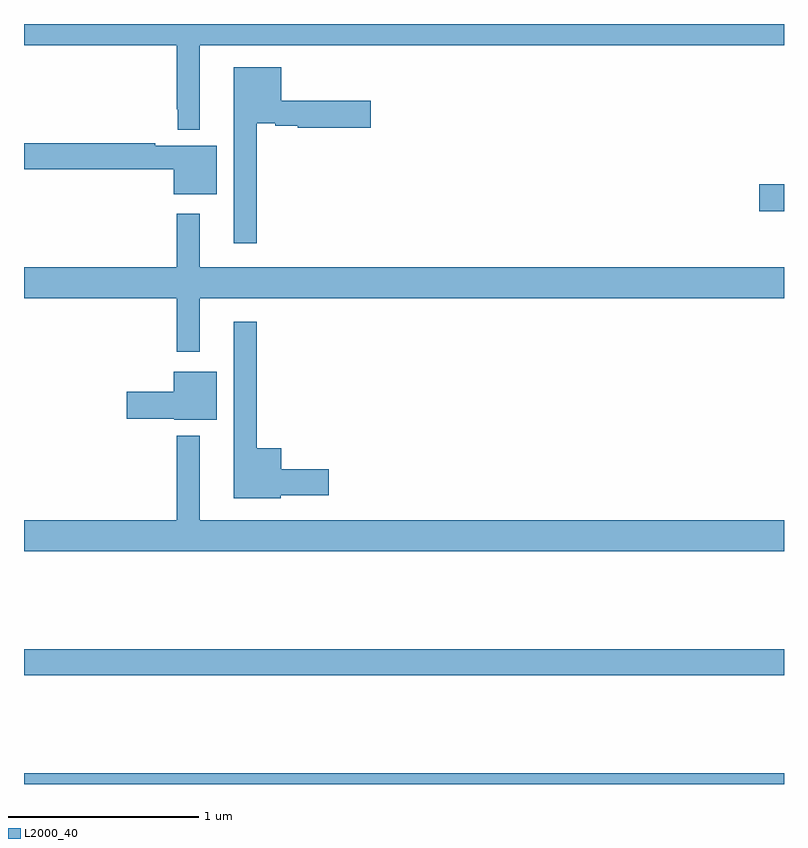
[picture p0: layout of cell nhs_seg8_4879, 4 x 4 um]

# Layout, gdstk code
import gdstk
lib = gdstk.Library(unit=1e-6, precision=1e-09)
def R(c, l, rs):  # rectangles x0, y0, x1, y1
    for r in rs: c.add(gdstk.rectangle(r[:2], r[2:], *l))
def P(c, l, *ps):  # polygons
    for p in ps: c.add(gdstk.Polygon(p, *l))
L2000_40 = (2000, 40)

nhs_seg8_4879 = lib.new_cell('nhs_seg8_4879')
R(nhs_seg8_4879, L2000_40, [(405,1157.9,409,1157.956), (405,1158.472,409,1158.608), (408.87,1160.914,409,1161.056)])
P(nhs_seg8_4879, L2000_40, [(405.925,1161.788),(409,1161.788),(409,1161.9),(405,1161.9),(405,1161.788),(405.804,1161.788),(405.804,1161.451),(405.81,1161.451),(405.81,1161.344),(405.925,1161.344)],
  [(406.225,1161.377),(406.322,1161.377),(406.322,1161.365),(406.44,1161.365),(406.44,1161.353),(406.825,1161.353),(406.825,1161.495),(406.354,1161.495),(406.354,1161.673),(406.103,1161.673),(406.103,1160.745),(406.225,1160.745)],
  [(406.015,1161.259),(405.692,1161.259),(405.692,1161.272),(405,1161.272),(405,1161.136),(405.788,1161.136),(405.788,1161.005),(406.015,1161.005)],
  [(405.925,1160.456),(409,1160.456),(409,1160.62),(405.925,1160.62),(405.925,1160.902),(405.804,1160.902),(405.804,1160.62),(405,1160.62),(405,1160.456),(405.804,1160.456),(405.804,1160.175),(405.925,1160.175)],
  [(406.35,1159.421),(406.603,1159.421),(406.603,1159.556),(406.354,1159.556),(406.354,1159.666),(406.225,1159.666),(406.225,1160.332),(406.103,1160.332),(406.103,1159.403),(406.35,1159.403)],
  [(406.015,1160.071),(405.788,1160.071),(405.788,1159.965),(405.54,1159.965),(405.54,1159.823),(405.792,1159.823),(405.792,1159.817),(406.015,1159.817)],
  [(409,1159.288),(405.925,1159.288),(405.925,1159.732),(405.804,1159.732),(405.804,1159.288),(405,1159.288),(405,1159.124),(409,1159.124)])

lib.write_gds('nhs_seg8_4879.gds')
